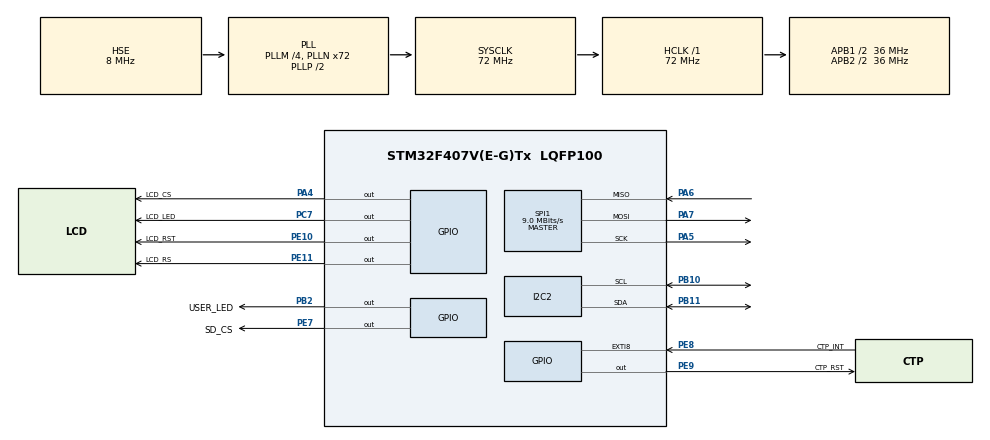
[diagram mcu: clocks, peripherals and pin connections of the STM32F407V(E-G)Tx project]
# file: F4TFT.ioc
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Dma.Request0=SPI1_RX
Dma.Request1=SPI1_TX
Dma.SPI1_RX.0.Direction=DMA_PERIPH_TO_MEMORY
Dma.SPI1_RX.0.FIFOMode=DMA_FIFOMODE_DISABLE
Dma.SPI1_RX.0.Instance=DMA2_Stream0
Dma.SPI1_RX.0.MemDataAlignment=DMA_MDATAALIGN_BYTE
Dma.SPI1_RX.0.MemInc=DMA_MINC_ENABLE
Dma.SPI1_RX.0.Mode=DMA_NORMAL
Dma.SPI1_RX.0.PeriphDataAlignment=DMA_PDATAALIGN_BYTE
Dma.SPI1_RX.0.PeriphInc=DMA_PINC_DISABLE
Dma.SPI1_RX.0.Priority=DMA_PRIORITY_LOW
Dma.SPI1_TX.1.Direction=DMA_MEMORY_TO_PERIPH
Dma.SPI1_TX.1.FIFOMode=DMA_FIFOMODE_DISABLE
Dma.SPI1_TX.1.Instance=DMA2_Stream3
Dma.SPI1_TX.1.MemDataAlignment=DMA_MDATAALIGN_BYTE
Dma.SPI1_TX.1.MemInc=DMA_MINC_ENABLE
Dma.SPI1_TX.1.Mode=DMA_NORMAL
Dma.SPI1_TX.1.PeriphDataAlignment=DMA_PDATAALIGN_BYTE
Dma.SPI1_TX.1.PeriphInc=DMA_PINC_DISABLE
Dma.SPI1_TX.1.Priority=DMA_PRIORITY_LOW
Mcu.Family=STM32F4
Mcu.Name=STM32F407V(E-G)Tx
Mcu.Package=LQFP100
NVIC.DMA2_Stream0_IRQn=true\:0\:0\:false\:false\:true\:false\:true\:true
NVIC.DMA2_Stream3_IRQn=true\:0\:0\:false\:false\:true\:false\:true\:true
NVIC.EXTI9_5_IRQn=true\:0\:0\:false\:false\:true\:true\:true\:true
NVIC.PriorityGroup=NVIC_PRIORITYGROUP_4
NVIC.TIM7_IRQn=true\:1\:0\:true\:false\:true\:true\:true\:true
PA13.Mode=Serial_Wire
PA13.Signal=SYS_JTMS-SWDIO
PA14.Mode=Serial_Wire
PA14.Signal=SYS_JTCK-SWCLK
PA4.GPIO_Label=LCD_CS
PA4.Signal=GPIO_Output
PA5.Mode=Full_Duplex_Master
PA5.Signal=SPI1_SCK
PA6.Mode=Full_Duplex_Master
PA6.Signal=SPI1_MISO
PA7.Mode=Full_Duplex_Master
PA7.Signal=SPI1_MOSI
PB10.Mode=I2C
PB10.Signal=I2C2_SCL
PB11.Mode=I2C
PB11.Signal=I2C2_SDA
PB2.GPIO_Label=USER_LED
PB2.Signal=GPIO_Output
PC7.GPIO_Label=LCD_LED
PC7.Signal=GPIO_Output
PE10.GPIO_Label=LCD_RST
PE10.Signal=GPIO_Output
PE11.GPIO_Label=LCD_RS
PE11.Signal=GPIO_Output
PE7.GPIO_Label=SD_CS
PE7.PinState=GPIO_PIN_SET
PE7.Signal=GPIO_Output
PE8.GPIO_Label=CTP_INT
PE8.GPIO_ModeDefaultEXTI=GPIO_MODE_IT_FALLING
PE8.GPIO_PuPd=GPIO_PULLUP
PE8.Signal=GPXTI8
PE9.GPIO_Label=CTP_RST
PE9.Signal=GPIO_Output
PH0-OSC_IN.Mode=HSE-External-Oscillator
PH0-OSC_IN.Signal=RCC_OSC_IN
PH1-OSC_OUT.Mode=HSE-External-Oscillator
PH1-OSC_OUT.Signal=RCC_OSC_OUT
ProjectManager.HeapSize=0x1000
ProjectManager.StackSize=0x1000
ProjectManager.TargetToolchain=MDK-ARM V5
RCC.48MHZClocksFreq_Value=36000000
RCC.AHBFreq_Value=72000000
RCC.APB1CLKDivider=RCC_HCLK_DIV2
RCC.APB1Freq_Value=36000000
RCC.APB1TimFreq_Value=72000000
RCC.APB2CLKDivider=RCC_HCLK_DIV2
RCC.APB2Freq_Value=36000000
RCC.APB2TimFreq_Value=72000000
RCC.CortexFreq_Value=72000000
RCC.HCLKFreq_Value=72000000
RCC.HSE_VALUE=8000000
RCC.HSI_VALUE=16000000
RCC.LSE_VALUE=32768
RCC.PLLM=4
RCC.PLLN=72
RCC.PLLSourceVirtual=RCC_PLLSOURCE_HSE
RCC.SYSCLKFreq_VALUE=72000000
RCC.SYSCLKSource=RCC_SYSCLKSOURCE_PLLCLK
RCC.VCOOutputFreq_Value=144000000
SPI1.BaudRatePrescaler=SPI_BAUDRATEPRESCALER_4
SPI1.CLKPhase=SPI_PHASE_2EDGE
SPI1.CLKPolarity=SPI_POLARITY_HIGH
SPI1.CalculateBaudRate=9.0 MBits/s
SPI1.DataSize=SPI_DATASIZE_8BIT
SPI1.Direction=SPI_DIRECTION_2LINES
SPI1.FirstBit=SPI_FIRSTBIT_MSB
SPI1.Mode=SPI_MODE_MASTER
SPI1.VirtualType=VM_MASTER
TIM7.Period=999
TIM7.Prescaler=71
VP_TIM7_VS_ClockSourceINT.Mode=Enable_Timer
board=custom

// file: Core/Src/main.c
/* USER CODE BEGIN Header */
/**
  ******************************************************************************
  * @file           : main.c
  * @brief          : Main program body
  ******************************************************************************
  * @attention
  *
  * Copyright (c) 2025 STMicroelectronics.
  * All rights reserved.
  *
  * This software is licensed under terms that can be found in the LICENSE file
  * in the root directory of this software component.
  * If no LICENSE file comes with this software, it is provided AS-IS.
  *
  ******************************************************************************
  */
/* USER CODE END Header */
#include "main.h"
#include "dma.h"
#include "i2c.h"
#include "spi.h"
#include "tim.h"
#include "gpio.h"

/* USER CODE BEGIN Includes */
#include "flag.h"
/* USER CODE END Includes */

/* USER CODE BEGIN PTD */
//extern void lv_example_osal(void);
/* USER CODE END PTD */

void SystemClock_Config(void);

int main(void)
{

  /* MCU Configuration--------------------------------------------------------*/

  /* Reset of all peripherals, Initializes the Flash interface and the Systick. */
  HAL_Init();

  /* Configure the system clock */
  SystemClock_Config();

  /* Initialize all configured peripherals */
  MX_GPIO_Init();
  MX_DMA_Init();
  MX_SPI1_Init();
  MX_TIM7_Init();
  MX_I2C2_Init();
  /* USER CODE BEGIN 2 */
  HAL_TIM_Base_Start_IT(&htim7);
  //LCD_Init(&LCD);
//  HAL_Delay(1000);
//  LCD_Init(&LCD);
// LCD_ShowString(&LCD,0,0,BLUE,YELLOW,(uint8_t *)"Hello World",18,1);
lv_init();                             // LVGL 初始化
lv_port_disp_init();                   // 注册LVGL的显示任务
lv_port_indev_init();                  // 注册LVGL的触屏检测任务
// ui_init_style(&guider_ui);
 setup_ui(&guider_ui);
 events_init(&guider_ui);
 setup_scr_screen(&guider_ui);
 events_init_screen(&guider_ui);
//lv_example_osal();
//lv_test();
//lv_example_chart_1();
//lv_example_osal();
//	 static uint8_t lv_count = 0;
  /* USER CODE END 2 */

  /* Infinite loop */
  /* USER CODE BEGIN WHILE */
  while (1)
  {
   lv_task_handler();
	  if(UserTim.bytes.systim_1ms == ON)
	  {
		 UserTim.bytes.systim_1ms = OFF;

//		  if(++lv_count >= 5)
//		  {
		  lv_timer_handler();
//			  lv_count = 0;
//		  }
	  }
	  if(UserTim.bytes.systim_10ms == ON)
	  {
		  UserTim.bytes.systim_10ms = OFF;
//		   lv_timer_handler();

		    CTP_mainLoop(&LCD.touch);
	  }
	  if(UserTim.bytes.systim_100ms == ON)
	  {
		  UserTim.bytes.systim_100ms = OFF;
	  }
	  if(UserTim.bytes.systim_500ms == ON)
	  {
//          lv_test();
		  UserTim.bytes.systim_500ms = OFF;
		  HAL_GPIO_TogglePin(USER_LED_GPIO_Port,USER_LED_Pin);
	  }
    /* USER CODE END WHILE */

  }
}

void SystemClock_Config(void)
{
  RCC_OscInitTypeDef RCC_OscInitStruct = {0};
  RCC_ClkInitTypeDef RCC_ClkInitStruct = {0};

  /** Configure the main internal regulator output voltage
  */
  __HAL_RCC_PWR_CLK_ENABLE();
  __HAL_PWR_VOLTAGESCALING_CONFIG(PWR_REGULATOR_VOLTAGE_SCALE1);

  /** Initializes the RCC Oscillators according to the specified parameters
  * in the RCC_OscInitTypeDef structure.
  */
  RCC_OscInitStruct.OscillatorType = RCC_OSCILLATORTYPE_HSE;
  RCC_OscInitStruct.HSEState = RCC_HSE_ON;
  RCC_OscInitStruct.PLL.PLLState = RCC_PLL_ON;
  RCC_OscInitStruct.PLL.PLLSource = RCC_PLLSOURCE_HSE;
  RCC_OscInitStruct.PLL.PLLM = 4;
  RCC_OscInitStruct.PLL.PLLN = 72;
  RCC_OscInitStruct.PLL.PLLP = RCC_PLLP_DIV2;
  RCC_OscInitStruct.PLL.PLLQ = 4;
  if (HAL_RCC_OscConfig(&RCC_OscInitStruct) != HAL_OK)
  {
    Error_Handler();
  }

  /** Initializes the CPU, AHB and APB buses clocks
  */
  RCC_ClkInitStruct.ClockType = RCC_CLOCKTYPE_HCLK|RCC_CLOCKTYPE_SYSCLK
                              |RCC_CLOCKTYPE_PCLK1|RCC_CLOCKTYPE_PCLK2;
  RCC_ClkInitStruct.SYSCLKSource = RCC_SYSCLKSOURCE_PLLCLK;
  RCC_ClkInitStruct.AHBCLKDivider = RCC_SYSCLK_DIV1;
  RCC_ClkInitStruct.APB1CLKDivider = RCC_HCLK_DIV2;
  RCC_ClkInitStruct.APB2CLKDivider = RCC_HCLK_DIV2;

  if (HAL_RCC_ClockConfig(&RCC_ClkInitStruct, FLASH_LATENCY_2) != HAL_OK)
  {
    Error_Handler();
  }
}

void Error_Handler(void)
{
  __disable_irq();
  while (1)
  {
  }
}
